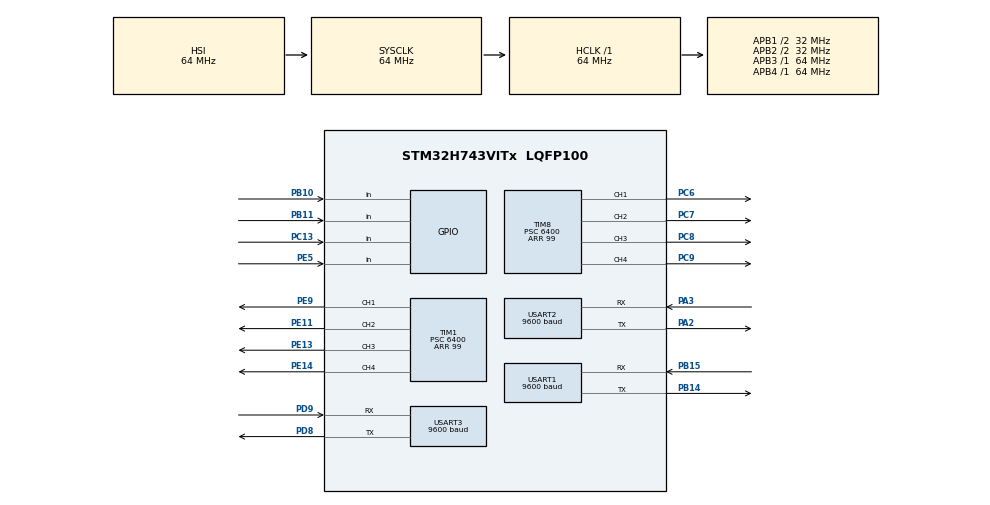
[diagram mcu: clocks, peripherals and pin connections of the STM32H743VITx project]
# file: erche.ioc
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Mcu.Family=STM32H7
Mcu.Name=STM32H743VITx
Mcu.Package=LQFP100
NVIC.PriorityGroup=NVIC_PRIORITYGROUP_4
PA2.Mode=Asynchronous
PA2.Signal=USART2_TX
PA3.Mode=Asynchronous
PA3.Signal=USART2_RX
PB10.Signal=GPIO_Input
PB11.Signal=GPIO_Input
PB14.Mode=Asynchronous
PB14.Signal=USART1_TX
PB15.Mode=Asynchronous
PB15.Signal=USART1_RX
PC13.Signal=GPIO_Input
PC6.Signal=S_TIM8_CH1
PC7.Signal=S_TIM8_CH2
PC8.Signal=S_TIM8_CH3
PC9.Signal=S_TIM8_CH4
PD8.Mode=Asynchronous
PD8.Signal=USART3_TX
PD9.Mode=Asynchronous
PD9.Signal=USART3_RX
PE11.Signal=S_TIM1_CH2
PE13.Signal=S_TIM1_CH3
PE14.Signal=S_TIM1_CH4
PE5.Signal=GPIO_Input
PE9.Signal=S_TIM1_CH1
ProjectManager.HeapSize=0x200
ProjectManager.StackSize=0x400
ProjectManager.TargetToolchain=STM32CubeIDE
RCC.ADCFreq_Value=129000000
RCC.APB1Freq_Value=32000000
RCC.APB2Freq_Value=32000000
RCC.APB3Freq_Value=64000000
RCC.APB4Freq_Value=64000000
RCC.CortexFreq_Value=64000000
RCC.D2PPRE1=RCC_APB1_DIV2
RCC.D2PPRE2=RCC_APB2_DIV2
RCC.DATA_CACHE_ENABLE=1
RCC.DIVM1=5
RCC.DIVN1=12
RCC.HCLKFreq_Value=64000000
RCC.HSE_VALUE=25000000
RCC.INSTRUCTION_CACHE_ENABLE=1
RCC.PLL1_VCI_Range-AdvancedSettings=RCC_PLL1VCIRANGE_0
RCC.PLL3_VCI_Range-AdvancedSettings=RCC_PLL3VCIRANGE_0
RCC.PREFETCH_ENABLE=1
RCC.SYSCLKFreq_VALUE=64000000
RCC.USBFreq_Value=76800000
SH.S_TIM1_CH1.0=TIM1_CH1,PWM Generation1 CH1
SH.S_TIM1_CH2.0=TIM1_CH2,PWM Generation2 CH2
SH.S_TIM1_CH3.0=TIM1_CH3,PWM Generation3 CH3
SH.S_TIM1_CH4.0=TIM1_CH4,PWM Generation4 CH4
SH.S_TIM8_CH1.0=TIM8_CH1,PWM Generation1 CH1
SH.S_TIM8_CH2.0=TIM8_CH2,PWM Generation2 CH2
SH.S_TIM8_CH3.0=TIM8_CH3,PWM Generation3 CH3
SH.S_TIM8_CH4.0=TIM8_CH4,PWM Generation4 CH4
TIM1.Channel-PWM\ Generation1\ CH1=TIM_CHANNEL_1
TIM1.Channel-PWM\ Generation2\ CH2=TIM_CHANNEL_2
TIM1.Channel-PWM\ Generation3\ CH3=TIM_CHANNEL_3
TIM1.Channel-PWM\ Generation4\ CH4=TIM_CHANNEL_4
TIM1.Period=99
TIM1.Prescaler=6400
TIM8.Channel-PWM\ Generation1\ CH1=TIM_CHANNEL_1
TIM8.Channel-PWM\ Generation2\ CH2=TIM_CHANNEL_2
TIM8.Channel-PWM\ Generation3\ CH3=TIM_CHANNEL_3
TIM8.Channel-PWM\ Generation4\ CH4=TIM_CHANNEL_4
TIM8.Period=99
TIM8.Prescaler=6400
USART1.BaudRate=9600
USART1.VirtualMode-Asynchronous=VM_ASYNC
USART2.BaudRate=9600
USART2.VirtualMode-Asynchronous=VM_ASYNC
USART3.BaudRate=9600
USART3.VirtualMode-Asynchronous=VM_ASYNC
VP_TIM1_VS_ClockSourceINT.Mode=Internal
VP_TIM8_VS_ClockSourceINT.Mode=Internal
board=custom

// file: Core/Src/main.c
/* USER CODE BEGIN Header */
/**
  ******************************************************************************
  * @file           : main.c
  * @brief          : Main program body
  ******************************************************************************
  * @attention
  *
  * <h2><center>&copy; Copyright (c) 2022 STMicroelectronics.
  * All rights reserved.</center></h2>
  *
  * This software component is licensed by ST under BSD 3-Clause license,
  * the "License"; You may not use this file except in compliance with the
  * License. You may obtain a copy of the License at:
  *                        opensource.org/licenses/BSD-3-Clause
  *
  ******************************************************************************
  */
/* USER CODE END Header */
#include "main.h"

TIM_HandleTypeDef htim1;
TIM_HandleTypeDef htim8;

UART_HandleTypeDef huart1;
UART_HandleTypeDef huart2;
UART_HandleTypeDef huart3;

void SystemClock_Config(void);
static void MX_GPIO_Init(void);
static void MX_TIM8_Init(void);
static void MX_USART1_UART_Init(void);
static void MX_USART2_UART_Init(void);
static void MX_TIM1_Init(void);
static void MX_USART3_UART_Init(void);
/* USER CODE BEGIN PFP */
uint8_t YY[10];
uint8_t YY1[]={0XBA,0XEC,0XC9,0XAB};//R
uint8_t YY2[]={0XC0,0XB6,0XC9,0XAB};//B
uint8_t YY3[]={0XC2,0XCC,0XC9,0XAB};//G
uint8_t redGreen[]={0XBA,0XEC,0XC9,0XAB,0XC2,0XCC,0XC9,0XAB};
uint8_t greenRed[]={0XC2,0XCC,0XC9,0XAB,0XBA,0XEC,0XC9,0XAB};
uint8_t redBlue[]={0XBA,0XEC,0XC9,0XAB,0XC0,0XB6,0XC9,0XAB};
uint8_t blueRed[]={0XC0,0XB6,0XC9,0XAB,0XBA,0XEC,0XC9,0XAB};
uint8_t blueGreen[]={0XC0,0XB6,0XC9,0XAB,0XC2,0XCC,0XC9,0XAB};
uint8_t greenBlue[]={0XC2,0XCC,0XC9,0XAB,0XC0,0XB6,0XC9,0XAB};

uint8_t  A0[]={0XFF,0X09,0X00,0X00,0X00};
uint8_t  A1[]={0XFF,0X09,0X00,0X01,0X00};
uint8_t  A2[]={0XFF,0X09,0X00,0X02,0X00};
uint8_t  A3[]={0XFF,0X09,0X00,0X03,0X00};
uint8_t  A4[]={0XFF,0X09,0X00,0X04,0X00};
uint8_t  A5[]={0XFF,0X09,0X00,0X05,0X00};
uint8_t  A6[]={0XFF,0X09,0X00,0X06,0X00};
uint8_t  A7[]={0XFF,0X09,0X00,0X07,0X00};
uint8_t  A8[]={0XFF,0X09,0X00,0X08,0X00};
uint8_t  A9[]={0XFF,0X09,0X00,0X09,0X00};
uint8_t A10[]={0XFF,0X09,0X00,0X0a,0X00};
uint8_t A11[]={0XFF,0X09,0X00,0X0b,0X00};
uint8_t A12[]={0XFF,0X09,0X00,0X0c,0X00};
uint8_t A13[]={0XFF,0X09,0X00,0X0d,0X00};
uint8_t A14[]={0XFF,0X09,0X00,0X0e,0X00};
uint8_t A15[]={0XFF,0X09,0X00,0X0f,0X00};
int LY=0;
int step=0;
int m=0;
int X=0;
int Y=0;
int Z=0;
int turn=0;
int Xflag=1;
int Yflag=1;
int Zflag=1;
int turnflag=1;
int arm=0;
uint8_t color=0;
uint8_t rx1=0;
uint8_t rx2=0;
uint8_t rx3=0;
uint8_t rx4=0;
uint8_t rx5=0;
uint8_t tx[]={0};
/* USER CODE END PFP */

/* USER CODE BEGIN 0 */
void adjust(int n)
{
	if(n==1)
	{
		__HAL_TIM_SET_COMPARE(&htim1,TIM_CHANNEL_1,0);
		__HAL_TIM_SET_COMPARE(&htim1,TIM_CHANNEL_2,27);

		__HAL_TIM_SET_COMPARE(&htim1,TIM_CHANNEL_3,26);
		__HAL_TIM_SET_COMPARE(&htim1,TIM_CHANNEL_4,0);

		__HAL_TIM_SET_COMPARE(&htim8,TIM_CHANNEL_1,0);
		__HAL_TIM_SET_COMPARE(&htim8,TIM_CHANNEL_2,22);

		__HAL_TIM_SET_COMPARE(&htim8,TIM_CHANNEL_3,25);
		__HAL_TIM_SET_COMPARE(&htim8,TIM_CHANNEL_4,0);
	}
}
void move(int n)
{
	if(n==1)//直行
	{
		if(HAL_GPIO_ReadPin(GPIOB,GPIO_PIN_11)==1&&HAL_GPIO_ReadPin(GPIOB,GPIO_PIN_10)==0)
		{
			__HAL_TIM_SET_COMPARE(&htim1,TIM_CHANNEL_1,25);
			__HAL_TIM_SET_COMPARE(&htim1,TIM_CHANNEL_2,0);

			__HAL_TIM_SET_COMPARE(&htim1,TIM_CHANNEL_3,25);
			__HAL_TIM_SET_COMPARE(&htim1,TIM_CHANNEL_4,0);

			__HAL_TIM_SET_COMPARE(&htim8,TIM_CHANNEL_1,12);
			__HAL_TIM_SET_COMPARE(&htim8,TIM_CHANNEL_2,0);

			__HAL_TIM_SET_COMPARE(&htim8,TIM_CHANNEL_3,30);
			__HAL_TIM_SET_COMPARE(&htim8,TIM_CHANNEL_4,0);
		}

		if(HAL_GPIO_ReadPin(GPIOB,GPIO_PIN_11)==0&&HAL_GPIO_ReadPin(GPIOB,GPIO_PIN_10)==1)
		{
			__HAL_TIM_SET_COMPARE(&htim1,TIM_CHANNEL_1,25);
			__HAL_TIM_SET_COMPARE(&htim1,TIM_CHANNEL_2,0);

			__HAL_TIM_SET_COMPARE(&htim1,TIM_CHANNEL_3,25);
			__HAL_TIM_SET_COMPARE(&htim1,TIM_CHANNEL_4,0);

			__HAL_TIM_SET_COMPARE(&htim8,TIM_CHANNEL_1,30);
			__HAL_TIM_SET_COMPARE(&htim8,TIM_CHANNEL_2,0);

			__HAL_TIM_SET_COMPARE(&htim8,TIM_CHANNEL_3,11);
			__HAL_TIM_SET_COMPARE(&htim8,TIM_CHANNEL_4,0);
		}

		if(HAL_GPIO_ReadPin(GPIOB,GPIO_PIN_11)==1&&HAL_GPIO_ReadPin(GPIOB,GPIO_PIN_10)==1)
		{
			__HAL_TIM_SET_COMPARE(&htim1,TIM_CHANNEL_1,25);
			__HAL_TIM_SET_COMPARE(&htim1,TIM_CHANNEL_2,0);

			__HAL_TIM_SET_COMPARE(&htim1,TIM_CHANNEL_3,25);
			__HAL_TIM_SET_COMPARE(&htim1,TIM_CHANNEL_4,0);

			__HAL_TIM_SET_COMPARE(&htim8,TIM_CHANNEL_1,12);
			__HAL_TIM_SET_COMPARE(&htim8,TIM_CHANNEL_2,0);

			__HAL_TIM_SET_COMPARE(&htim8,TIM_CHANNEL_3,11);
			__HAL_TIM_SET_COMPARE(&htim8,TIM_CHANNEL_4,0);
		}

		if(HAL_GPIO_ReadPin(GPIOB,GPIO_PIN_11)==0&&HAL_GPIO_ReadPin(GPIOB,GPIO_PIN_10)==0)
		{
			  			adjust(1);
//			__HAL_TIM_SET_COMPARE(&htim1, TIM_CHANNEL_1,100);
//			__HAL_TIM_SET_COMPARE(&htim1, TIM_CHANNEL_2,100);
//
//			__HAL_TIM_SET_COMPARE(&htim1, TIM_CHANNEL_3,100);
//			__HAL_TIM_SET_COMPARE(&htim1, TIM_CHANNEL_4,100);
//
//			__HAL_TIM_SET_COMPARE(&htim8, TIM_CHANNEL_1,100);
//			__HAL_TIM_SET_COMPARE(&htim8, TIM_CHANNEL_2,100);
//
//			__HAL_TIM_SET_COMPARE(&htim8, TIM_CHANNEL_3,100);
//			__HAL_TIM_SET_COMPARE(&htim8, TIM_CHANNEL_4,100);
		}
	}
	if(n==2)//右行
	{
		if(HAL_GPIO_ReadPin(GPIOC,GPIO_PIN_13)==0&&HAL_GPIO_ReadPin(GPIOE,GPIO_PIN_5)==1)
		{
			__HAL_TIM_SET_COMPARE(&htim1, TIM_CHANNEL_1,19);
			__HAL_TIM_SET_COMPARE(&htim1, TIM_CHANNEL_2,0);

			__HAL_TIM_SET_COMPARE(&htim1, TIM_CHANNEL_3,0);
			__HAL_TIM_SET_COMPARE(&htim1, TIM_CHANNEL_4,22);

			__HAL_TIM_SET_COMPARE(&htim8, TIM_CHANNEL_1,16);
			__HAL_TIM_SET_COMPARE(&htim8, TIM_CHANNEL_2,0);

			__HAL_TIM_SET_COMPARE(&htim8, TIM_CHANNEL_3,0);
			__HAL_TIM_SET_COMPARE(&htim8, TIM_CHANNEL_4,24);
		}

		if(HAL_GPIO_ReadPin(GPIOC,GPIO_PIN_13)==1&&HAL_GPIO_ReadPin(GPIOE,GPIO_PIN_5)==0)
		{
			__HAL_TIM_SET_COMPARE(&htim1, TIM_CHANNEL_1,24);
			__HAL_TIM_SET_COMPARE(&htim1, TIM_CHANNEL_2,0);

			__HAL_TIM_SET_COMPARE(&htim1, TIM_CHANNEL_3,0);
			__HAL_TIM_SET_COMPARE(&htim1, TIM_CHANNEL_4,21);

			__HAL_TIM_SET_COMPARE(&htim8, TIM_CHANNEL_1,18);
			__HAL_TIM_SET_COMPARE(&htim8, TIM_CHANNEL_2,0);

			__HAL_TIM_SET_COMPARE(&htim8, TIM_CHANNEL_3,0);
			__HAL_TIM_SET_COMPARE(&htim8, TIM_CHANNEL_4,19);
		}

		if(HAL_GPIO_ReadPin(GPIOC,GPIO_PIN_13)==1&&HAL_GPIO_ReadPin(GPIOE,GPIO_PIN_5)==1)
		{
			__HAL_TIM_SET_COMPARE(&htim1, TIM_CHANNEL_1,19);
			__HAL_TIM_SET_COMPARE(&htim1, TIM_CHANNEL_2,0);

			__HAL_TIM_SET_COMPARE(&htim1, TIM_CHANNEL_3,0);
			__HAL_TIM_SET_COMPARE(&htim1, TIM_CHANNEL_4,20);

			__HAL_TIM_SET_COMPARE(&htim8, TIM_CHANNEL_1,16);
			__HAL_TIM_SET_COMPARE(&htim8, TIM_CHANNEL_2,0);

			__HAL_TIM_SET_COMPARE(&htim8, TIM_CHANNEL_3,0);
			__HAL_TIM_SET_COMPARE(&htim8, TIM_CHANNEL_4,19);
		}

		if(HAL_GPIO_ReadPin(GPIOC,GPIO_PIN_13)==0&&HAL_GPIO_ReadPin(GPIOE,GPIO_PIN_5)==0)
		{
			__HAL_TIM_SET_COMPARE(&htim1, TIM_CHANNEL_1,100);
			__HAL_TIM_SET_COMPARE(&htim1, TIM_CHANNEL_2,100);

			__HAL_TIM_SET_COMPARE(&htim1, TIM_CHANNEL_3,100);
			__HAL_TIM_SET_COMPARE(&htim1, TIM_CHANNEL_4,100);

			__HAL_TIM_SET_COMPARE(&htim8, TIM_CHANNEL_1,100);
			__HAL_TIM_SET_COMPARE(&htim8, TIM_CHANNEL_2,100);

			__HAL_TIM_SET_COMPARE(&htim8, TIM_CHANNEL_3,100);
			__HAL_TIM_SET_COMPARE(&htim8, TIM_CHANNEL_4,100);
		}
	}
	if(n==3)//旋转
	{
		__HAL_TIM_SET_COMPARE(&htim1, TIM_CHANNEL_1,0);
		__HAL_TIM_SET_COMPARE(&htim1, TIM_CHANNEL_2,21);//23

		__HAL_TIM_SET_COMPARE(&htim1, TIM_CHANNEL_3,24);//22
		__HAL_TIM_SET_COMPARE(&htim1, TIM_CHANNEL_4,0);

		__HAL_TIM_SET_COMPARE(&htim8, TIM_CHANNEL_1,23);//22
		__HAL_TIM_SET_COMPARE(&htim8, TIM_CHANNEL_2,0);

		__HAL_TIM_SET_COMPARE(&htim8, TIM_CHANNEL_3,0);
		__HAL_TIM_SET_COMPARE(&htim8, TIM_CHANNEL_4,21);//23
	}
	if(n==4)//刹车
	{
		__HAL_TIM_SET_COMPARE(&htim1,TIM_CHANNEL_1,100);
		__HAL_TIM_SET_COMPARE(&htim1,TIM_CHANNEL_2,100);

		__HAL_TIM_SET_COMPARE(&htim1,TIM_CHANNEL_3,100);
		__HAL_TIM_SET_COMPARE(&htim1,TIM_CHANNEL_4,100);

		__HAL_TIM_SET_COMPARE(&htim8,TIM_CHANNEL_1,100);
		__HAL_TIM_SET_COMPARE(&htim8,TIM_CHANNEL_2,100);

		__HAL_TIM_SET_COMPARE(&htim8,TIM_CHANNEL_3,100);
		__HAL_TIM_SET_COMPARE(&htim8,TIM_CHANNEL_4,100);
	}
	if(n==5)//倒车入库
	{
		__HAL_TIM_SET_COMPARE(&htim1,TIM_CHANNEL_1,100);
		__HAL_TIM_SET_COMPARE(&htim1,TIM_CHANNEL_2,100);

		__HAL_TIM_SET_COMPARE(&htim1,TIM_CHANNEL_3,35);
		__HAL_TIM_SET_COMPARE(&htim1,TIM_CHANNEL_4,0);

		__HAL_TIM_SET_COMPARE(&htim8,TIM_CHANNEL_1,100);
		__HAL_TIM_SET_COMPARE(&htim8,TIM_CHANNEL_2,100);

		__HAL_TIM_SET_COMPARE(&htim8,TIM_CHANNEL_3,33);
		__HAL_TIM_SET_COMPARE(&htim8,TIM_CHANNEL_4,0);
	}
	if(n==6)
	{
		if(HAL_GPIO_ReadPin(GPIOB,GPIO_PIN_11)==1&&HAL_GPIO_ReadPin(GPIOB,GPIO_PIN_10)==0)
		{
			__HAL_TIM_SET_COMPARE(&htim1,TIM_CHANNEL_1,15);
			__HAL_TIM_SET_COMPARE(&htim1,TIM_CHANNEL_2,0);

			__HAL_TIM_SET_COMPARE(&htim1,TIM_CHANNEL_3,15);
			__HAL_TIM_SET_COMPARE(&htim1,TIM_CHANNEL_4,0);

			__HAL_TIM_SET_COMPARE(&htim8,TIM_CHANNEL_1,7);
			__HAL_TIM_SET_COMPARE(&htim8,TIM_CHANNEL_2,0);

			__HAL_TIM_SET_COMPARE(&htim8,TIM_CHANNEL_3,32);
			__HAL_TIM_SET_COMPARE(&htim8,TIM_CHANNEL_4,0);
		}

		if(HAL_GPIO_ReadPin(GPIOB,GPIO_PIN_11)==0&&HAL_GPIO_ReadPin(GPIOB,GPIO_PIN_10)==1)
		{
			__HAL_TIM_SET_COMPARE(&htim1,TIM_CHANNEL_1,15);
			__HAL_TIM_SET_COMPARE(&htim1,TIM_CHANNEL_2,0);

			__HAL_TIM_SET_COMPARE(&htim1,TIM_CHANNEL_3,15);
			__HAL_TIM_SET_COMPARE(&htim1,TIM_CHANNEL_4,0);

			__HAL_TIM_SET_COMPARE(&htim8,TIM_CHANNEL_1,32);
			__HAL_TIM_SET_COMPARE(&htim8,TIM_CHANNEL_2,0);

			__HAL_TIM_SET_COMPARE(&htim8,TIM_CHANNEL_3,7);
			__HAL_TIM_SET_COMPARE(&htim8,TIM_CHANNEL_4,0);
		}

		if(HAL_GPIO_ReadPin(GPIOB,GPIO_PIN_11)==1&&HAL_GPIO_ReadPin(GPIOB,GPIO_PIN_10)==1)
		{
			__HAL_TIM_SET_COMPARE(&htim1,TIM_CHANNEL_1,15);
			__HAL_TIM_SET_COMPARE(&htim1,TIM_CHANNEL_2,0);

			__HAL_TIM_SET_COMPARE(&htim1,TIM_CHANNEL_3,15);
			__HAL_TIM_SET_COMPARE(&htim1,TIM_CHANNEL_4,0);

			__HAL_TIM_SET_COMPARE(&htim8,TIM_CHANNEL_1,7);
			__HAL_TIM_SET_COMPARE(&htim8,TIM_CHANNEL_2,0);

			__HAL_TIM_SET_COMPARE(&htim8,TIM_CHANNEL_3,7);
			__HAL_TIM_SET_COMPARE(&htim8,TIM_CHANNEL_4,0);
		}

		if(HAL_GPIO_ReadPin(GPIOB,GPIO_PIN_11)==0&&HAL_GPIO_ReadPin(GPIOB,GPIO_PIN_10)==0)
		{
			adjust(1);
		}
	}
}

void shuxian()
{
	if(step==1)//直走
	{
		if(HAL_GPIO_ReadPin(GPIOE,GPIO_PIN_5)==0)
		{
			Xflag=1;
		}
		if(HAL_GPIO_ReadPin(GPIOE,GPIO_PIN_5)==1&&Xflag==1)
		{
			X+=1;
			Xflag=0;
		}
	}
	if(step==2||step==4||step==6||step==12||step==14)//旋转
	{
		if((HAL_GPIO_ReadPin(GPIOB,GPIO_PIN_10)==1&&HAL_GPIO_ReadPin(GPIOB,GPIO_PIN_11)==1)&&turnflag==1)
		{
			turn+=1;
			turnflag=0;
		}
		if(HAL_GPIO_ReadPin(GPIOB,GPIO_PIN_10)==0||HAL_GPIO_ReadPin(GPIOB,GPIO_PIN_11)==0)
		{
			turnflag=1;
		}
	}
	if(step==3||step==11||step==-1)//直走
	{
		turn=0;
		turnflag=1;
		if(HAL_GPIO_ReadPin(GPIOE,GPIO_PIN_5)==1&&Yflag==1)
		{
			Y+=1;
			Yflag=0;
		}
		if(HAL_GPIO_ReadPin(GPIOE,GPIO_PIN_5)==0)
		{
			Yflag=1;
		}
	}
	if(step==5||step==13)//�?????回一�?????
	{
		turn=0;
		turnflag=1;
		if(HAL_GPIO_ReadPin(GPIOE,GPIO_PIN_5)==1&&Xflag==1)
		{
			X-=1;
			Xflag=0;
		}
		if(HAL_GPIO_ReadPin(GPIOE,GPIO_PIN_5)==0)
		{
			Xflag=1;
		}
	}
	if(step==7||step==15)//�?????回一�?????
	{
		turn=0;
		turnflag=1;
		if(HAL_GPIO_ReadPin(GPIOE,GPIO_PIN_5)==1&&Yflag==1)
		{
			Y-=1;
			Yflag=0;
		}
		if(HAL_GPIO_ReadPin(GPIOE,GPIO_PIN_5)==0)
		{
			Yflag=1;
		}
	}
	if(step==8)
	{
		if(HAL_GPIO_ReadPin(GPIOC,GPIO_PIN_13)==0)
		{
			Zflag=1;
		}
		if(HAL_GPIO_ReadPin(GPIOC,GPIO_PIN_13)==1&&Zflag==1)
		{
			Z+=1;
			Zflag=0;
		}
	}
}

void buzhou()
{
	if(step==0)//等待语音
	{
		HAL_UART_Receive(&huart3,&color,1,HAL_MAX_DELAY);
		if(color==1)
		{
			HAL_UART_Transmit(&huart2,redGreen,sizeof(redGreen),1000);
			step=1;
		}
		else if(color==2)
		{
			HAL_UART_Transmit(&huart2,redBlue,sizeof(redBlue),1000);
			step=1;
		}
		else if(color==3)
		{
			HAL_UART_Transmit(&huart2,greenBlue,sizeof(greenBlue),1000);
			step=1;
		}
		else if(color==4)
		{
			HAL_UART_Transmit(&huart2,greenRed,sizeof(greenRed),1000);
			step=1;
		}
		else if(color==5)
		{
			HAL_UART_Transmit(&huart2,blueRed,sizeof(blueRed),1000);
			step=1;
		}
		else if(color==6)
		{
			HAL_UART_Transmit(&huart2,blueGreen,sizeof(blueGreen),1000);
			step=1;
		}

//		step=1;
	}
	if(step==1)//move straight
	{
		move(6);
		shuxian();
		if(X==2&&HAL_GPIO_ReadPin(GPIOC,GPIO_PIN_13)==1)
		{
			move(4);
			HAL_Delay(500);
			step=2;
		}
	}
	if(step==2)//turn right
	{
		move(3);
		shuxian();
		if(turn==2)
		{
			move(4);
//			step=-1;
			step=3;//直接停到白色区域
		}
	}
	if(step==-1)//move straight
	{
		move(6);
		shuxian();
		if(Y==1&&HAL_GPIO_ReadPin(GPIOC,GPIO_PIN_13)==1)
		{
			move(4);
			step=-2;
		}
	}
	if(step==-2)//wait for car1 and activate arm
	{
		if(arm==0)
		{
			HAL_UART_Transmit(&huart1, (uint8_t *)A0,sizeof(A0),0xffff);//机械臂初始化
			arm=1;
		}
		if(HAL_UART_Receive(&huart3,&rx2,1,HAL_MAX_DELAY)==HAL_OK&&arm==1)
		{
			step=3;
		}
	}
	if(step==3)//move straight
	{
		HAL_UART_Transmit(&huart1, (uint8_t *)A0,sizeof(A0),0xffff);
		move(6);
		shuxian();
		if(Y==2&&HAL_GPIO_ReadPin(GPIOC,GPIO_PIN_13)==1)
		{
			move(4);
			HAL_Delay(1000);
//			step=11;
//			step=4;
			step=-4;
		}
	}
	if(step==-4)//wait for car1 to catch
	{
		if(HAL_UART_Receive(&huart3,&rx2,1,HAL_MAX_DELAY)==HAL_OK)
		{
			HAL_UART_Transmit(&huart1, (uint8_t *)A1,sizeof(A1),0xffff);
			step=-5;
		}
	}
	if(step==-5)
	{
		if(HAL_UART_Receive(&huart3,&rx2,1,HAL_MAX_DELAY)==HAL_OK)
		{
			HAL_UART_Transmit(&huart1, (uint8_t *)A2,sizeof(A2),0xffff);
			step=-6;
//			HAL_Delay(26000);    //初赛这两行
//			step=4;
		}
	}
	if(step==-6)//wait for car1 to move
	{
		if(HAL_UART_Receive(&huart3,&rx2,1,HAL_MAX_DELAY)==HAL_OK)
		{
			step=11;
		}
	}
	if(step==4)//turn right
	{
		move(3);
		shuxian();
		if(turn==2)
		{
			move(4);
			step=5;
		}
	}
	if(step==5)//move straight
	{
		move(1);
		shuxian();
		if(X==1&&HAL_GPIO_ReadPin(GPIOC,GPIO_PIN_13)==1)
		{
			move(4);
			step=6;
		}
	}
	if(step==6)//turn right
	{
		move(3);
		shuxian();
		if(turn==2)
		{
			move(4);
			step=7;
		}
	}
	if(step==7)//move straight
	{
		move(1);
		shuxian();
		if(Y==1&&HAL_GPIO_ReadPin(GPIOC,GPIO_PIN_13)==1)
		{
			move(4);
			step=8;
		}
	}
	if(step==8)
	{
		move(5);
		shuxian();
		if(Z==3)
		{
			move(4);
			step=9;
		}
	}
	if(step==11)//move straight
	{
		move(6);
		shuxian();
		if(Y==4&&HAL_GPIO_ReadPin(GPIOC,GPIO_PIN_13)==1)
		{
			move(4);
			HAL_Delay(1000);
			step=-8;
//			step=12;
		}
	}
	if(step==-8)//arm move
	{
		if(HAL_UART_Receive(&huart3,&rx2,1,HAL_MAX_DELAY)==HAL_OK)
		{
			HAL_UART_Transmit(&huart1, (uint8_t *)A6,sizeof(A6),0xffff);
			step=-9;
		}
	}
	if(step==-9)//arm move
	{
		if(HAL_UART_Receive(&huart3,&rx2,1,HAL_MAX_DELAY)==HAL_OK)
		{
			HAL_UART_Transmit(&huart1, (uint8_t *)A5,sizeof(A5),0xffff);
			HAL_Delay(35000);
			step=12;
		}
	}
	if(step==-10)//wait for car1
	{
		if(HAL_UART_Receive(&huart3,&rx2,1,HAL_MAX_DELAY)==HAL_OK)
		{
			step=12;
		}
	}
	if(step==12)
	{
		move(3);
		shuxian();
		if(turn==2)
		{
			move(4);
			step=13;
		}
	}
	if(step==13)
	{
		move(6);
		shuxian();
		if(X==1&&HAL_GPIO_ReadPin(GPIOC,GPIO_PIN_13)==1)
		{
			move(4);
			HAL_Delay(500);
			step=14;
		}
	}
	if(step==14)
	{
		move(3);
		shuxian();
		if(turn==2)
		{
			move(4);
			step=15;
		}
	}
	if(step==15)//move straight
	{
		move(1);
		shuxian();
		if(Y==1&&HAL_GPIO_ReadPin(GPIOC,GPIO_PIN_13)==1)
		{
			move(4);
			step=8;
		}
	}

}
/* USER CODE END 0 */

int main(void)
{

  /* MCU Configuration--------------------------------------------------------*/

  /* Reset of all peripherals, Initializes the Flash interface and the Systick. */
  HAL_Init();

  /* Configure the system clock */
  SystemClock_Config();

  /* Initialize all configured peripherals */
  MX_GPIO_Init();
  MX_TIM8_Init();
  MX_USART1_UART_Init();
  MX_USART2_UART_Init();
  MX_TIM1_Init();
  MX_USART3_UART_Init();
  /* USER CODE BEGIN 2 */

    HAL_TIM_PWM_Start(&htim1,TIM_CHANNEL_1);
    HAL_TIM_PWM_Start(&htim1,TIM_CHANNEL_2);
    HAL_TIM_PWM_Start(&htim1,TIM_CHANNEL_3);
    HAL_TIM_PWM_Start(&htim1,TIM_CHANNEL_4);
    HAL_TIM_PWM_Start(&htim8,TIM_CHANNEL_1);
    HAL_TIM_PWM_Start(&htim8,TIM_CHANNEL_2);
    HAL_TIM_PWM_Start(&htim8,TIM_CHANNEL_3);
    HAL_TIM_PWM_Start(&htim8,TIM_CHANNEL_4);
//    HAL_UART_Receive_IT(&huart3,rx1,1000);
  /* USER CODE END 2 */

  /* Infinite loop */
  while (1)
  {

    /* USER CODE BEGIN 3 */

	  buzhou();

//11�?????

  }
  /* USER CODE END 3 */
}

void SystemClock_Config(void)
{
  RCC_OscInitTypeDef RCC_OscInitStruct = {0};
  RCC_ClkInitTypeDef RCC_ClkInitStruct = {0};

  /** Supply configuration update enable
  */
  HAL_PWREx_ConfigSupply(PWR_LDO_SUPPLY);
  /** Configure the main internal regulator output voltage
  */
  __HAL_PWR_VOLTAGESCALING_CONFIG(PWR_REGULATOR_VOLTAGE_SCALE3);

  while(!__HAL_PWR_GET_FLAG(PWR_FLAG_VOSRDY)) {}
  /** Initializes the RCC Oscillators according to the specified parameters
  * in the RCC_OscInitTypeDef structure.
  */
  RCC_OscInitStruct.OscillatorType = RCC_OSCILLATORTYPE_HSI;
  RCC_OscInitStruct.HSIState = RCC_HSI_DIV1;
  RCC_OscInitStruct.HSICalibrationValue = RCC_HSICALIBRATION_DEFAULT;
  RCC_OscInitStruct.PLL.PLLState = RCC_PLL_NONE;
  if (HAL_RCC_OscConfig(&RCC_OscInitStruct) != HAL_OK)
  {
    Error_Handler();
  }
  /** Initializes the CPU, AHB and APB buses clocks
  */
  RCC_ClkInitStruct.ClockType = RCC_CLOCKTYPE_HCLK|RCC_CLOCKTYPE_SYSCLK
                              |RCC_CLOCKTYPE_PCLK1|RCC_CLOCKTYPE_PCLK2
                              |RCC_CLOCKTYPE_D3PCLK1|RCC_CLOCKTYPE_D1PCLK1;
  RCC_ClkInitStruct.SYSCLKSource = RCC_SYSCLKSOURCE_HSI;
  RCC_ClkInitStruct.SYSCLKDivider = RCC_SYSCLK_DIV1;
  RCC_ClkInitStruct.AHBCLKDivider = RCC_HCLK_DIV1;
  RCC_ClkInitStruct.APB3CLKDivider = RCC_APB3_DIV1;
  RCC_ClkInitStruct.APB1CLKDivider = RCC_APB1_DIV2;
  RCC_ClkInitStruct.APB2CLKDivider = RCC_APB2_DIV2;
  RCC_ClkInitStruct.APB4CLKDivider = RCC_APB4_DIV1;

  if (HAL_RCC_ClockConfig(&RCC_ClkInitStruct, FLASH_LATENCY_1) != HAL_OK)
  {
    Error_Handler();
  }
}

static void MX_TIM1_Init(void)
{

  TIM_ClockConfigTypeDef sClockSourceConfig = {0};
  TIM_MasterConfigTypeDef sMasterConfig = {0};
  TIM_OC_InitTypeDef sConfigOC = {0};
  TIM_BreakDeadTimeConfigTypeDef sBreakDeadTimeConfig = {0};

  htim1.Instance = TIM1;
  htim1.Init.Prescaler = 6400;
  htim1.Init.CounterMode = TIM_COUNTERMODE_UP;
  htim1.Init.Period = 99;
  htim1.Init.ClockDivision = TIM_CLOCKDIVISION_DIV1;
  htim1.Init.RepetitionCounter = 0;
  htim1.Init.AutoReloadPreload = TIM_AUTORELOAD_PRELOAD_DISABLE;
  if (HAL_TIM_Base_Init(&htim1) != HAL_OK)
  {
    Error_Handler();
  }
  sClockSourceConfig.ClockSource = TIM_CLOCKSOURCE_INTERNAL;
  if (HAL_TIM_ConfigClockSource(&htim1, &sClockSourceConfig) != HAL_OK)
  {
    Error_Handler();
  }
  if (HAL_TIM_PWM_Init(&htim1) != HAL_OK)
  {
    Error_Handler();
  }
  sMasterConfig.MasterOutputTrigger = TIM_TRGO_RESET;
  sMasterConfig.MasterOutputTrigger2 = TIM_TRGO2_RESET;
  sMasterConfig.MasterSlaveMode = TIM_MASTERSLAVEMODE_DISABLE;
  if (HAL_TIMEx_MasterConfigSynchronization(&htim1, &sMasterConfig) != HAL_OK)
  {
    Error_Handler();
  }
  sConfigOC.OCMode = TIM_OCMODE_PWM1;
  sConfigOC.Pulse = 0;
  sConfigOC.OCPolarity = TIM_OCPOLARITY_HIGH;
  sConfigOC.OCNPolarity = TIM_OCNPOLARITY_HIGH;
  sConfigOC.OCFastMode = TIM_OCFAST_DISABLE;
  sConfigOC.OCIdleState = TIM_OCIDLESTATE_RESET;
  sConfigOC.OCNIdleState = TIM_OCNIDLESTATE_RESET;
  if (HAL_TIM_PWM_ConfigChannel(&htim1, &sConfigOC, TIM_CHANNEL_1) != HAL_OK)
  {
    Error_Handler();
  }
  if (HAL_TIM_PWM_ConfigChannel(&htim1, &sConfigOC, TIM_CHANNEL_2) != HAL_OK)
  {
    Error_Handler();
  }
  if (HAL_TIM_PWM_ConfigChannel(&htim1, &sConfigOC, TIM_CHANNEL_3) != HAL_OK)
  {
    Error_Handler();
  }
  if (HAL_TIM_PWM_ConfigChannel(&htim1, &sConfigOC, TIM_CHANNEL_4) != HAL_OK)
  {
    Error_Handler();
  }
  sBreakDeadTimeConfig.OffStateRunMode = TIM_OSSR_DISABLE;
  sBreakDeadTimeConfig.OffStateIDLEMode = TIM_OSSI_DISABLE;
  sBreakDeadTimeConfig.LockLevel = TIM_LOCKLEVEL_OFF;
  sBreakDeadTimeConfig.DeadTime = 0;
  sBreakDeadTimeConfig.BreakState = TIM_BREAK_DISABLE;
  sBreakDeadTimeConfig.BreakPolarity = TIM_BREAKPOLARITY_HIGH;
  sBreakDeadTimeConfig.BreakFilter = 0;
  sBreakDeadTimeConfig.Break2State = TIM_BREAK2_DISABLE;
  sBreakDeadTimeConfig.Break2Polarity = TIM_BREAK2POLARITY_HIGH;
  sBreakDeadTimeConfig.Break2Filter = 0;
  sBreakDeadTimeConfig.AutomaticOutput = TIM_AUTOMATICOUTPUT_DISABLE;
  if (HAL_TIMEx_ConfigBreakDeadTime(&htim1, &sBreakDeadTimeConfig) != HAL_OK)
  {
    Error_Handler();
  }
  HAL_TIM_MspPostInit(&htim1);

}

static void MX_TIM8_Init(void)
{

  TIM_ClockConfigTypeDef sClockSourceConfig = {0};
  TIM_MasterConfigTypeDef sMasterConfig = {0};
  TIM_OC_InitTypeDef sConfigOC = {0};
  TIM_BreakDeadTimeConfigTypeDef sBreakDeadTimeConfig = {0};

  htim8.Instance = TIM8;
  htim8.Init.Prescaler = 6400;
  htim8.Init.CounterMode = TIM_COUNTERMODE_UP;
  htim8.Init.Period = 99;
  htim8.Init.ClockDivision = TIM_CLOCKDIVISION_DIV1;
  htim8.Init.RepetitionCounter = 0;
  htim8.Init.AutoReloadPreload = TIM_AUTORELOAD_PRELOAD_DISABLE;
  if (HAL_TIM_Base_Init(&htim8) != HAL_OK)
  {
    Error_Handler();
  }
  sClockSourceConfig.ClockSource = TIM_CLOCKSOURCE_INTERNAL;
  if (HAL_TIM_ConfigClockSource(&htim8, &sClockSourceConfig) != HAL_OK)
  {
    Error_Handler();
  }
  if (HAL_TIM_PWM_Init(&htim8) != HAL_OK)
  {
    Error_Handler();
  }
  sMasterConfig.MasterOutputTrigger = TIM_TRGO_RESET;
  sMasterConfig.MasterOutputTrigger2 = TIM_TRGO2_RESET;
  sMasterConfig.MasterSlaveMode = TIM_MASTERSLAVEMODE_DISABLE;
  if (HAL_TIMEx_MasterConfigSynchronization(&htim8, &sMasterConfig) != HAL_OK)
  {
    Error_Handler();
  }
  sConfigOC.OCMode = TIM_OCMODE_PWM1;
  sConfigOC.Pulse = 0;
  sConfigOC.OCPolarity = TIM_OCPOLARITY_HIGH;
  sConfigOC.OCNPolarity = TIM_OCNPOLARITY_HIGH;
  sConfigOC.OCFastMode = TIM_OCFAST_DISABLE;
  sConfigOC.OCIdleState = TIM_OCIDLESTATE_RESET;
  sConfigOC.OCNIdleState = TIM_OCNIDLESTATE_RESET;
  if (HAL_TIM_PWM_ConfigChannel(&htim8, &sConfigOC, TIM_CHANNEL_1) != HAL_OK)
  {
    Error_Handler();
  }
  if (HAL_TIM_PWM_ConfigChannel(&htim8, &sConfigOC, TIM_CHANNEL_2) != HAL_OK)
  {
    Error_Handler();
  }
  if (HAL_TIM_PWM_ConfigChannel(&htim8, &sConfigOC, TIM_CHANNEL_3) != HAL_OK)
  {
    Error_Handler();
  }
  if (HAL_TIM_PWM_ConfigChannel(&htim8, &sConfigOC, TIM_CHANNEL_4) != HAL_OK)
  {
    Error_Handler();
  }
  sBreakDeadTimeConfig.OffStateRunMode = TIM_OSSR_DISABLE;
  sBreakDeadTimeConfig.OffStateIDLEMode = TIM_OSSI_DISABLE;
  sBreakDeadTimeConfig.LockLevel = TIM_LOCKLEVEL_OFF;
  sBreakDeadTimeConfig.DeadTime = 0;
  sBreakDeadTimeConfig.BreakState = TIM_BREAK_DISABLE;
  sBreakDeadTimeConfig.BreakPolarity = TIM_BREAKPOLARITY_HIGH;
  sBreakDeadTimeConfig.BreakFilter = 0;
  sBreakDeadTimeConfig.Break2State = TIM_BREAK2_DISABLE;
  sBreakDeadTimeConfig.Break2Polarity = TIM_BREAK2POLARITY_HIGH;
  sBreakDeadTimeConfig.Break2Filter = 0;
  sBreakDeadTimeConfig.AutomaticOutput = TIM_AUTOMATICOUTPUT_DISABLE;
  if (HAL_TIMEx_ConfigBreakDeadTime(&htim8, &sBreakDeadTimeConfig) != HAL_OK)
  {
    Error_Handler();
  }
  HAL_TIM_MspPostInit(&htim8);

}

static void MX_USART1_UART_Init(void)
{

  huart1.Instance = USART1;
  huart1.Init.BaudRate = 9600;
  huart1.Init.WordLength = UART_WORDLENGTH_8B;
  huart1.Init.StopBits = UART_STOPBITS_1;
  huart1.Init.Parity = UART_PARITY_NONE;
  huart1.Init.Mode = UART_MODE_TX_RX;
  huart1.Init.HwFlowCtl = UART_HWCONTROL_NONE;
  huart1.Init.OverSampling = UART_OVERSAMPLING_16;
  huart1.Init.OneBitSampling = UART_ONE_BIT_SAMPLE_DISABLE;
  huart1.Init.ClockPrescaler = UART_PRESCALER_DIV1;
  huart1.AdvancedInit.AdvFeatureInit = UART_ADVFEATURE_NO_INIT;
  if (HAL_UART_Init(&huart1) != HAL_OK)
  {
    Error_Handler();
  }
  if (HAL_UARTEx_SetTxFifoThreshold(&huart1, UART_TXFIFO_THRESHOLD_1_8) != HAL_OK)
  {
    Error_Handler();
  }
  if (HAL_UARTEx_SetRxFifoThreshold(&huart1, UART_RXFIFO_THRESHOLD_1_8) != HAL_OK)
  {
    Error_Handler();
  }
  if (HAL_UARTEx_DisableFifoMode(&huart1) != HAL_OK)
  {
    Error_Handler();
  }

}

static void MX_USART2_UART_Init(void)
{

  huart2.Instance = USART2;
  huart2.Init.BaudRate = 9600;
  huart2.Init.WordLength = UART_WORDLENGTH_8B;
  huart2.Init.StopBits = UART_STOPBITS_1;
  huart2.Init.Parity = UART_PARITY_NONE;
  huart2.Init.Mode = UART_MODE_TX_RX;
  huart2.Init.HwFlowCtl = UART_HWCONTROL_NONE;
  huart2.Init.OverSampling = UART_OVERSAMPLING_16;
  huart2.Init.OneBitSampling = UART_ONE_BIT_SAMPLE_DISABLE;
  huart2.Init.ClockPrescaler = UART_PRESCALER_DIV1;
  huart2.AdvancedInit.AdvFeatureInit = UART_ADVFEATURE_NO_INIT;
  if (HAL_UART_Init(&huart2) != HAL_OK)
  {
    Error_Handler();
  }
  if (HAL_UARTEx_SetTxFifoThreshold(&huart2, UART_TXFIFO_THRESHOLD_1_8) != HAL_OK)
  {
    Error_Handler();
  }
  if (HAL_UARTEx_SetRxFifoThreshold(&huart2, UART_RXFIFO_THRESHOLD_1_8) != HAL_OK)
  {
    Error_Handler();
  }
  if (HAL_UARTEx_DisableFifoMode(&huart2) != HAL_OK)
  {
    Error_Handler();
  }

}

static void MX_USART3_UART_Init(void)
{

  huart3.Instance = USART3;
  huart3.Init.BaudRate = 9600;
  huart3.Init.WordLength = UART_WORDLENGTH_8B;
  huart3.Init.StopBits = UART_STOPBITS_1;
  huart3.Init.Parity = UART_PARITY_NONE;
  huart3.Init.Mode = UART_MODE_TX_RX;
  huart3.Init.HwFlowCtl = UART_HWCONTROL_NONE;
  huart3.Init.OverSampling = UART_OVERSAMPLING_16;
  huart3.Init.OneBitSampling = UART_ONE_BIT_SAMPLE_DISABLE;
  huart3.Init.ClockPrescaler = UART_PRESCALER_DIV1;
  huart3.AdvancedInit.AdvFeatureInit = UART_ADVFEATURE_NO_INIT;
  if (HAL_UART_Init(&huart3) != HAL_OK)
  {
    Error_Handler();
  }
  if (HAL_UARTEx_SetTxFifoThreshold(&huart3, UART_TXFIFO_THRESHOLD_1_8) != HAL_OK)
  {
    Error_Handler();
  }
  if (HAL_UARTEx_SetRxFifoThreshold(&huart3, UART_RXFIFO_THRESHOLD_1_8) != HAL_OK)
  {
    Error_Handler();
  }
  if (HAL_UARTEx_DisableFifoMode(&huart3) != HAL_OK)
  {
    Error_Handler();
  }

}

static void MX_GPIO_Init(void)
{
  GPIO_InitTypeDef GPIO_InitStruct = {0};

  /* GPIO Ports Clock Enable */
  __HAL_RCC_GPIOE_CLK_ENABLE();
  __HAL_RCC_GPIOC_CLK_ENABLE();
  __HAL_RCC_GPIOA_CLK_ENABLE();
  __HAL_RCC_GPIOB_CLK_ENABLE();
  __HAL_RCC_GPIOD_CLK_ENABLE();

  /*Configure GPIO pin : PE5 */
  GPIO_InitStruct.Pin = GPIO_PIN_5;
  GPIO_InitStruct.Mode = GPIO_MODE_INPUT;
  GPIO_InitStruct.Pull = GPIO_NOPULL;
  HAL_GPIO_Init(GPIOE, &GPIO_InitStruct);

  /*Configure GPIO pin : PC13 */
  GPIO_InitStruct.Pin = GPIO_PIN_13;
  GPIO_InitStruct.Mode = GPIO_MODE_INPUT;
  GPIO_InitStruct.Pull = GPIO_NOPULL;
  HAL_GPIO_Init(GPIOC, &GPIO_InitStruct);

  /*Configure GPIO pins : PB10 PB11 */
  GPIO_InitStruct.Pin = GPIO_PIN_10|GPIO_PIN_11;
  GPIO_InitStruct.Mode = GPIO_MODE_INPUT;
  GPIO_InitStruct.Pull = GPIO_NOPULL;
  HAL_GPIO_Init(GPIOB, &GPIO_InitStruct);

}

void Error_Handler(void)
{
  __disable_irq();
  while (1)
  {
  }
}
